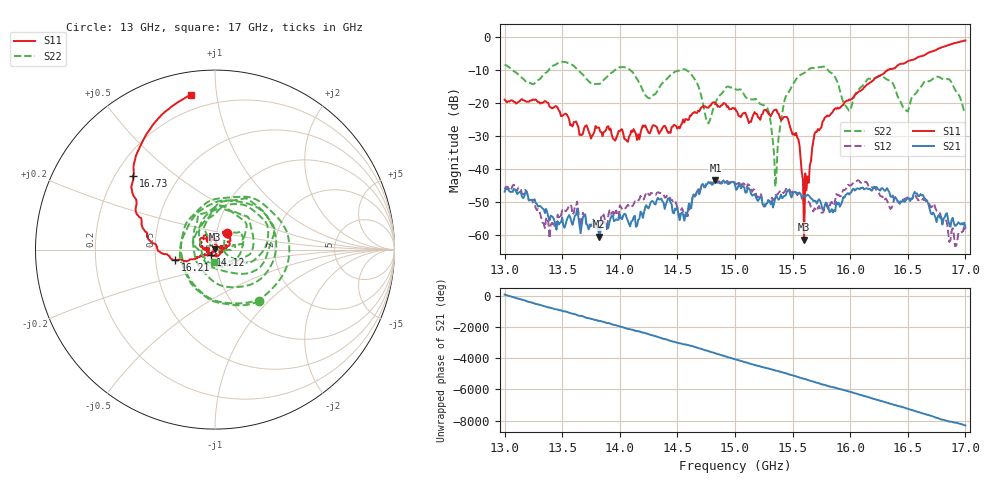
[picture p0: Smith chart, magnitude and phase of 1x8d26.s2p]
!Keysight Technologies,P9374A,MY57211807,A.19.30.04
!Date: Friday, May 08, 2026 15:19:09
!Correction: S11(C  2-Port  )
!S21(C  2-Port  )
!S12(C  2-Port  )
!S22(C  2-Port  )
!S2P File: Measurements: S11, S21, S12, S22:
# Hz S  dB  R 50
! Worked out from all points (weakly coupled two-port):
!   401 points, 13 GHz to 17 GHz, reference 50 ohm
!   highest |S21| = -43.28 dB at 14.83 GHz (marker M1); lowest = -60.4 dB at 13.82 GHz (marker M2)
!   lowest |S11| = -61.2 dB at 15.6 GHz (marker M3), VSWR 1.00, Z = 49.9 + j0.066 ohm
!   |S11| at or under -10 dB: start of sweep to 16.33 GHz
!   |S22| runs from -45.3 to -7.6 dB; largest |S21 - S12| = 0.0026
!   S11 on the Smith chart (normalised r, x): 13 GHz: 1.12, +0.21; 14.12 GHz: 0.95, -0.06; 16.21 GHz: 0.63, -0.08; 16.73 GHz: 0.27, +0.36; 17 GHz: 0.12, +0.85
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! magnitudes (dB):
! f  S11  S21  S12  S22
! 13 GHz  -19.0  -46.8  -46.0  -8.4
! 13.41 GHz  -21.6  -54.3  -56.3  -9.0
! 13.67 GHz  -29.8  -56.9  -55.1  -11.1
! 13.82 GHz  -27.5  -60.4  -58.0  -14.3
! 14.12 GHz  -27.9  -54.5  -50.6  -11.2
! 14.34 GHz  -29.3  -49.1  -47.1  -15.6
! 14.57 GHz  -24.9  -53.6  -53.1  -10.0
! 14.76 GHz  -21.5  -44.5  -44.2  -25.9
! 14.83 GHz  -20.2  -43.3  -43.6  -20.1
! 15 GHz  -21.7  -44.8  -44.2  -15.8
! 15.27 GHz  -22.1  -50.6  -49.7  -21.3
! 15.35 GHz  -22.1  -48.6  -47.9  -45.3
! 15.43 GHz  -24.2  -48.0  -46.9  -19.3
! 15.54 GHz  -30.4  -47.2  -47.9  -12.5
! 15.6 GHz  -61.2  -48.1  -49.5  -11.0
! 15.67 GHz  -33.5  -49.0  -51.9  -9.5
! 15.99 GHz  -19.0  -47.7  -44.9  -22.4
! 16.21 GHz  -12.8  -45.4  -45.8  -12.6
! 16.34 GHz  -9.9  -47.0  -51.3  -13.3
! 16.49 GHz  -7.7  -49.0  -49.0  -22.5
! 16.73 GHz  -4.2  -53.7  -50.6  -12.4
! 17 GHz  -1.2  -57.6  -58.2  -23.2
